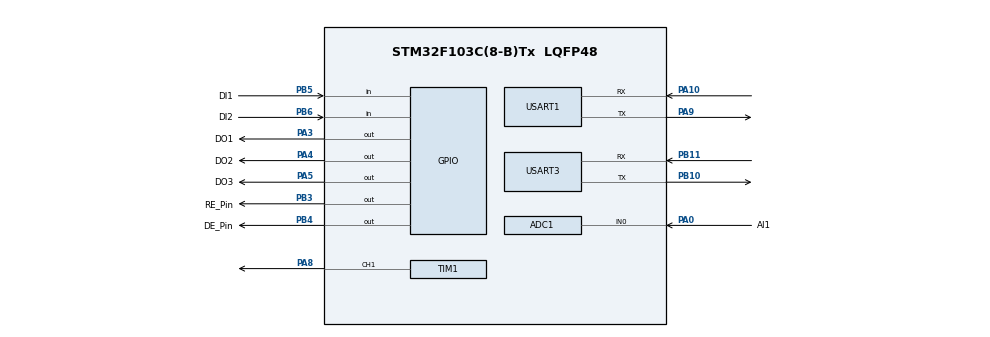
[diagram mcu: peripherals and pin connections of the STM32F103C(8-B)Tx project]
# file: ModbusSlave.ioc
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Mcu.Family=STM32F1
NVIC.USART3_IRQn=true\:0\:0\:false\:false\:true\:true\:true
ADC1.Rank-0\#ChannelRegularConversion=1
PA10.Mode=Asynchronous
PB10.Mode=Asynchronous
VP_ADC1_TempSens_Input.Mode=IN-TempSens
ADC1.ContinuousConvMode=ENABLE
SH.SharedAnalog_PA0.0=GPIO_Analog
SH.SharedAnalog_PA0.1=ADC1_IN0,IN0
PB6.GPIO_PuPd=GPIO_PULLDOWN
PB6.GPIO_Label=DI2
TIM1.Pulse-PWM\ Generation1\ CH1=0
PB11.Signal=USART3_RX
ProjectManager.StackSize=0x400
PA0-WKUP.GPIO_Label=AI1
PA0-WKUP.Signal=SharedAnalog_PA0
PA13.Signal=SYS_JTMS-SWDIO
PA9.Mode=Asynchronous
TIM1.Prescaler=0
SH.S_TIM1_CH1.0=TIM1_CH1,PWM Generation1 CH1
PB11.Mode=Asynchronous
ProjectManager.TargetToolchain=STM32CubeIDE
PA9.Signal=USART1_TX
PB6.Signal=GPIO_Input
PB10.Signal=USART3_TX
PA5.Signal=GPIO_Output
ADC1.Channel-0\#ChannelRegularConversion=ADC_CHANNEL_0
board=custom
NVIC.TIM3_IRQn=true\:2\:0\:true\:false\:true\:true\:true
RCC.APB2Freq_Value=8000000
PB4.GPIO_Label=DE_Pin
TIM1.Channel-PWM\ Generation1\ CH1=TIM_CHANNEL_1
PA14.Mode=Serial_Wire
PA8.Signal=S_TIM1_CH1
PA13.Mode=Serial_Wire
Mcu.Name=STM32F103C(8-B)Tx
VP_TIM1_VS_ClockSourceINT.Mode=Internal
ADC1.SamplingTime-0\#ChannelRegularConversion=ADC_SAMPLETIME_1CYCLE_5
PB3.Signal=GPIO_Output
PA4.Signal=GPIO_Output
Mcu.Package=LQFP48
PB5.Signal=GPIO_Input
ADC1.master=1
PA5.GPIO_Label=DO3
USART3.VirtualMode=VM_ASYNC
PB5.GPIO_PuPd=GPIO_PULLDOWN
USART1.VirtualMode=VM_ASYNC
PA10.Signal=USART1_RX
PA14.Signal=SYS_JTCK-SWCLK
ProjectManager.HeapSize=0x200
VP_TIM4_VS_ClockSourceINT.Mode=Internal
NVIC.PriorityGroup=NVIC_PRIORITYGROUP_4
ADC1.NbrOfConversionFlag=1
PB5.GPIO_Label=DI1
TIM1.Period=65535
NVIC.USART1_IRQn=true\:3\:0\:true\:false\:true\:true\:true
NVIC.TIM4_IRQn=true\:1\:0\:true\:false\:true\:true\:true
RCC.APB1Freq_Value=8000000
PA4.GPIO_Label=DO2
VP_TIM3_VS_ClockSourceINT.Mode=Internal
PB4.Signal=GPIO_Output
PA3.GPIO_Label=DO1
PA3.Signal=GPIO_Output
PB3.GPIO_Label=RE_Pin

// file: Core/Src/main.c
/* USER CODE BEGIN Header */
/**
  ******************************************************************************
  * @file           : main.c
  * @brief          : Main program body
  ******************************************************************************
  * @attention
  *
  * <h2><center>&copy; Copyright (c) 2021 STMicroelectronics.
  * All rights reserved.</center></h2>
  *
  * This software component is licensed by ST under BSD 3-Clause license,
  * the "License"; You may not use this file except in compliance with the
  * License. You may obtain a copy of the License at:
  *                        opensource.org/licenses/BSD-3-Clause
  *
  ******************************************************************************
  */
/* USER CODE END Header */
#include "main.h"

/* USER CODE BEGIN Includes */
#include "stdarg.h"

#include "rtuHandler.h"

#include "ntc.h"

/* USER CODE END Includes */

ADC_HandleTypeDef hadc1;

TIM_HandleTypeDef htim1;
TIM_HandleTypeDef htim3;
TIM_HandleTypeDef htim4;

UART_HandleTypeDef huart1;
UART_HandleTypeDef huart3;

/* USER CODE BEGIN PV */

MBHandler MBSlave;

uint8_t MBCoilsData[] = {
		0,
		0,
		1,
		1,
		1
};

uint16_t MBRegistersData[] = {
		0,
		0,
		0
};

/* USER CODE END PV */

void SystemClock_Config(void);
static void MX_GPIO_Init(void);
static void MX_TIM3_Init(void);
static void MX_TIM4_Init(void);
static void MX_USART1_UART_Init(void);
static void MX_TIM1_Init(void);
static void MX_USART3_UART_Init(void);
static void MX_ADC1_Init(void);
/* USER CODE BEGIN PFP */
void printMsg(char *msg,...);

void GPIOMapping();

void SelectADCChannel();

/* USER CODE END PFP */

/* USER CODE BEGIN 0 */
void printMsg( char *msg,...)
{
	char buffer[100];

	va_list args;
	va_start(args, msg);
	vsprintf(buffer, msg, args);

	for(int j=0; j< strlen(buffer); j++)
	{
		USART1->DR = buffer[j];
		while(!(USART1->SR & USART_SR_TXE));
	}
}

void SelectADCChannel(uint32_t channel)
{
	 ADC_ChannelConfTypeDef sConfig = {0};

	  //Configure Regular Channel

	  sConfig.Channel = channel;
	  sConfig.Rank = ADC_REGULAR_RANK_1;
	  sConfig.SamplingTime = ADC_CONVERSIONCLOCKCYCLES_SAMPLETIME_239CYCLES5;
	  if (HAL_ADC_ConfigChannel(&hadc1, &sConfig) != HAL_OK)
	  {
	    Error_Handler();
	  }

}

void GPIOMapping()
{
	// DI1
	if(HAL_GPIO_ReadPin(DI1_GPIO_Port, DI1_Pin))
	{
		*(MBSlave.CoilsData.CoilsArray) = 1;
	}
	else
	{
		*(MBSlave.CoilsData.CoilsArray) = 0;
	}

	// DI2
	if(HAL_GPIO_ReadPin(DI2_GPIO_Port, DI2_Pin))
	{
		*(MBSlave.CoilsData.CoilsArray + 1) = 1;
	}
	else
	{
		*(MBSlave.CoilsData.CoilsArray + 1) = 0;
	}

	// AI1
	SelectADCChannel(ADC_CHANNEL_0);
	HAL_ADC_Start(&hadc1);
	HAL_ADC_PollForConversion(&hadc1, 300);
	*(MBSlave.RegistersData.RegistersArray) = (uint16_t)(ntc_convertToC(HAL_ADC_GetValue(&hadc1))*100);
	HAL_ADC_Stop(&hadc1);

	//HAL_ADC_Start_DMA(&hadc1,(tempAnalogValue) ,1);

	// AI1
	SelectADCChannel(ADC_CHANNEL_TEMPSENSOR);
	HAL_ADC_Start(&hadc1);
	HAL_ADC_PollForConversion(&hadc1, 300);
	*(MBSlave.RegistersData.RegistersArray +1) = (uint16_t)(((1.43-(HAL_ADC_GetValue(&hadc1)*(3.3/4096)))/0.0043+25)*100);

	//HAL_ADC_Start_DMA(&hadc1,(tempAnalogValue) ,1);

	//DO1
	if((*(MBSlave.CoilsData.CoilsArray + 2))==0)
	{
		HAL_GPIO_WritePin(DO1_GPIO_Port, DO1_Pin, GPIO_PIN_RESET);
	}
	else
	{
		HAL_GPIO_WritePin(DO1_GPIO_Port, DO1_Pin, GPIO_PIN_SET);
	}

	//DO2
	if((*(MBSlave.CoilsData.CoilsArray + 3))==0)
	{
		HAL_GPIO_WritePin(DO2_GPIO_Port, DO2_Pin, GPIO_PIN_RESET);
	}
	else
	{
		HAL_GPIO_WritePin(DO2_GPIO_Port, DO2_Pin, GPIO_PIN_SET);
	}

	//DO3
	if((*(MBSlave.CoilsData.CoilsArray + 4))==0)
	{
		HAL_GPIO_WritePin(DO3_GPIO_Port, DO3_Pin, GPIO_PIN_RESET);
	}
	else
	{
		HAL_GPIO_WritePin(DO3_GPIO_Port, DO3_Pin, GPIO_PIN_SET);
	}

	//AO1
	HAL_TIM_PWM_Start(&htim1, TIM_CHANNEL_1);
	htim1.Instance->CCR1 = *(MBSlave.RegistersData.RegistersArray + 2);
}

/* USER CODE END 0 */

int main(void)
{

  /* MCU Configuration--------------------------------------------------------*/

  /* Reset of all peripherals, Initializes the Flash interface and the Systick. */
  HAL_Init();

  /* Configure the system clock */
  SystemClock_Config();

  /* Initialize all configured peripherals */
  MX_GPIO_Init();
  MX_TIM3_Init();
  MX_TIM4_Init();
  MX_USART1_UART_Init();
  MX_TIM1_Init();
  MX_USART3_UART_Init();
  MX_ADC1_Init();
  /* USER CODE BEGIN 2 */

  InitMBSlave(1, &MBSlave, &huart3, &htim3, &htim4, 8, 9600, UART_WORDLENGTH_9B, UART_STOPBITS_1, UART_PARITY_EVEN,
		  RE_Pin_GPIO_Port, RE_Pin_Pin, DE_Pin_GPIO_Port, DE_Pin_Pin,
		  MBCoilsData, 5, MBRegistersData, 5);

  StartMBSlave(&MBSlave);

  HAL_ADCEx_Calibration_Start(&hadc1);

  /* USER CODE END 2 */

  /* Infinite loop */
  /* USER CODE BEGIN WHILE */
  while (1)
  {

	  GPIOMapping();

	  printMsg("----------------------------------------------------------------------\n");

	  printMsg("-> DI1 (switch 1):%d\n", *(MBSlave.CoilsData.CoilsArray));
	  printMsg("-> DI2 (switch 2):%d\n", *(MBSlave.CoilsData.CoilsArray + 1));
	  printMsg("-> DO1 (LED 1):%d\n", *(MBSlave.CoilsData.CoilsArray + 2));
	  printMsg("-> DO2 (LED 2):%d\n", *(MBSlave.CoilsData.CoilsArray + 3));
	  printMsg("-> DO3 (LED 3):%d\n", *(MBSlave.CoilsData.CoilsArray + 4));

	  printMsg("-> AI1 (Ambient temp.):%d Celcius\n", *(MBSlave.RegistersData.RegistersArray));
	  printMsg("-> AI2 (STM32 temp.):%d Celcius\n", *(MBSlave.RegistersData.RegistersArray + 1));
	  printMsg("-> AO1 (PWM Ton):%d\n", *(MBSlave.RegistersData.RegistersArray + 2));

	  HAL_Delay(1000);

    /* USER CODE END WHILE */

  }
}

void SystemClock_Config(void)
{
  RCC_OscInitTypeDef RCC_OscInitStruct = {0};
  RCC_ClkInitTypeDef RCC_ClkInitStruct = {0};
  RCC_PeriphCLKInitTypeDef PeriphClkInit = {0};

  /** Initializes the RCC Oscillators according to the specified parameters
  * in the RCC_OscInitTypeDef structure.
  */
  RCC_OscInitStruct.OscillatorType = RCC_OSCILLATORTYPE_HSI;
  RCC_OscInitStruct.HSIState = RCC_HSI_ON;
  RCC_OscInitStruct.HSICalibrationValue = RCC_HSICALIBRATION_DEFAULT;
  RCC_OscInitStruct.PLL.PLLState = RCC_PLL_NONE;
  if (HAL_RCC_OscConfig(&RCC_OscInitStruct) != HAL_OK)
  {
    Error_Handler();
  }
  /** Initializes the CPU, AHB and APB buses clocks
  */
  RCC_ClkInitStruct.ClockType = RCC_CLOCKTYPE_HCLK|RCC_CLOCKTYPE_SYSCLK
                              |RCC_CLOCKTYPE_PCLK1|RCC_CLOCKTYPE_PCLK2;
  RCC_ClkInitStruct.SYSCLKSource = RCC_SYSCLKSOURCE_HSI;
  RCC_ClkInitStruct.AHBCLKDivider = RCC_SYSCLK_DIV1;
  RCC_ClkInitStruct.APB1CLKDivider = RCC_HCLK_DIV1;
  RCC_ClkInitStruct.APB2CLKDivider = RCC_HCLK_DIV1;

  if (HAL_RCC_ClockConfig(&RCC_ClkInitStruct, FLASH_LATENCY_0) != HAL_OK)
  {
    Error_Handler();
  }
  PeriphClkInit.PeriphClockSelection = RCC_PERIPHCLK_ADC;
  PeriphClkInit.AdcClockSelection = RCC_ADCPCLK2_DIV2;
  if (HAL_RCCEx_PeriphCLKConfig(&PeriphClkInit) != HAL_OK)
  {
    Error_Handler();
  }
}

static void MX_ADC1_Init(void)
{

  ADC_ChannelConfTypeDef sConfig = {0};

  /** Common config
  */
  hadc1.Instance = ADC1;
  hadc1.Init.ScanConvMode = ADC_SCAN_DISABLE;
  hadc1.Init.ContinuousConvMode = ENABLE;
  hadc1.Init.DiscontinuousConvMode = DISABLE;
  hadc1.Init.ExternalTrigConv = ADC_SOFTWARE_START;
  hadc1.Init.DataAlign = ADC_DATAALIGN_RIGHT;
  hadc1.Init.NbrOfConversion = 1;
  if (HAL_ADC_Init(&hadc1) != HAL_OK)
  {
    Error_Handler();
  }
  /** Configure Regular Channel
  */
/*  sConfig.Channel = ADC_CHANNEL_0;
  sConfig.Rank = ADC_REGULAR_RANK_1;
  sConfig.SamplingTime = ADC_SAMPLETIME_1CYCLE_5;
  if (HAL_ADC_ConfigChannel(&hadc1, &sConfig) != HAL_OK)
  {
    Error_Handler();
  }*/

}

static void MX_TIM1_Init(void)
{

  TIM_ClockConfigTypeDef sClockSourceConfig = {0};
  TIM_MasterConfigTypeDef sMasterConfig = {0};
  TIM_OC_InitTypeDef sConfigOC = {0};
  TIM_BreakDeadTimeConfigTypeDef sBreakDeadTimeConfig = {0};

  htim1.Instance = TIM1;
  htim1.Init.Prescaler = 0;
  htim1.Init.CounterMode = TIM_COUNTERMODE_UP;
  htim1.Init.Period = 65535;
  htim1.Init.ClockDivision = TIM_CLOCKDIVISION_DIV1;
  htim1.Init.RepetitionCounter = 0;
  htim1.Init.AutoReloadPreload = TIM_AUTORELOAD_PRELOAD_DISABLE;
  if (HAL_TIM_Base_Init(&htim1) != HAL_OK)
  {
    Error_Handler();
  }
  sClockSourceConfig.ClockSource = TIM_CLOCKSOURCE_INTERNAL;
  if (HAL_TIM_ConfigClockSource(&htim1, &sClockSourceConfig) != HAL_OK)
  {
    Error_Handler();
  }
  if (HAL_TIM_PWM_Init(&htim1) != HAL_OK)
  {
    Error_Handler();
  }
  sMasterConfig.MasterOutputTrigger = TIM_TRGO_RESET;
  sMasterConfig.MasterSlaveMode = TIM_MASTERSLAVEMODE_DISABLE;
  if (HAL_TIMEx_MasterConfigSynchronization(&htim1, &sMasterConfig) != HAL_OK)
  {
    Error_Handler();
  }
  sConfigOC.OCMode = TIM_OCMODE_PWM1;
  sConfigOC.Pulse = 0;
  sConfigOC.OCPolarity = TIM_OCPOLARITY_HIGH;
  sConfigOC.OCNPolarity = TIM_OCNPOLARITY_HIGH;
  sConfigOC.OCFastMode = TIM_OCFAST_DISABLE;
  sConfigOC.OCIdleState = TIM_OCIDLESTATE_RESET;
  sConfigOC.OCNIdleState = TIM_OCNIDLESTATE_RESET;
  if (HAL_TIM_PWM_ConfigChannel(&htim1, &sConfigOC, TIM_CHANNEL_1) != HAL_OK)
  {
    Error_Handler();
  }
  sBreakDeadTimeConfig.OffStateRunMode = TIM_OSSR_DISABLE;
  sBreakDeadTimeConfig.OffStateIDLEMode = TIM_OSSI_DISABLE;
  sBreakDeadTimeConfig.LockLevel = TIM_LOCKLEVEL_OFF;
  sBreakDeadTimeConfig.DeadTime = 0;
  sBreakDeadTimeConfig.BreakState = TIM_BREAK_DISABLE;
  sBreakDeadTimeConfig.BreakPolarity = TIM_BREAKPOLARITY_HIGH;
  sBreakDeadTimeConfig.AutomaticOutput = TIM_AUTOMATICOUTPUT_DISABLE;
  if (HAL_TIMEx_ConfigBreakDeadTime(&htim1, &sBreakDeadTimeConfig) != HAL_OK)
  {
    Error_Handler();
  }
  HAL_TIM_MspPostInit(&htim1);

}

static void MX_TIM3_Init(void)
{

  TIM_ClockConfigTypeDef sClockSourceConfig = {0};
  TIM_MasterConfigTypeDef sMasterConfig = {0};

  htim3.Instance = TIM3;
  htim3.Init.Prescaler = 0;
  htim3.Init.CounterMode = TIM_COUNTERMODE_UP;
  htim3.Init.Period = 65535;
  htim3.Init.ClockDivision = TIM_CLOCKDIVISION_DIV1;
  htim3.Init.AutoReloadPreload = TIM_AUTORELOAD_PRELOAD_DISABLE;
  if (HAL_TIM_Base_Init(&htim3) != HAL_OK)
  {
    Error_Handler();
  }
  sClockSourceConfig.ClockSource = TIM_CLOCKSOURCE_INTERNAL;
  if (HAL_TIM_ConfigClockSource(&htim3, &sClockSourceConfig) != HAL_OK)
  {
    Error_Handler();
  }
  sMasterConfig.MasterOutputTrigger = TIM_TRGO_RESET;
  sMasterConfig.MasterSlaveMode = TIM_MASTERSLAVEMODE_DISABLE;
  if (HAL_TIMEx_MasterConfigSynchronization(&htim3, &sMasterConfig) != HAL_OK)
  {
    Error_Handler();
  }

}

static void MX_TIM4_Init(void)
{

  TIM_ClockConfigTypeDef sClockSourceConfig = {0};
  TIM_MasterConfigTypeDef sMasterConfig = {0};

  htim4.Instance = TIM4;
  htim4.Init.Prescaler = 0;
  htim4.Init.CounterMode = TIM_COUNTERMODE_UP;
  htim4.Init.Period = 65535;
  htim4.Init.ClockDivision = TIM_CLOCKDIVISION_DIV1;
  htim4.Init.AutoReloadPreload = TIM_AUTORELOAD_PRELOAD_DISABLE;
  if (HAL_TIM_Base_Init(&htim4) != HAL_OK)
  {
    Error_Handler();
  }
  sClockSourceConfig.ClockSource = TIM_CLOCKSOURCE_INTERNAL;
  if (HAL_TIM_ConfigClockSource(&htim4, &sClockSourceConfig) != HAL_OK)
  {
    Error_Handler();
  }
  sMasterConfig.MasterOutputTrigger = TIM_TRGO_RESET;
  sMasterConfig.MasterSlaveMode = TIM_MASTERSLAVEMODE_DISABLE;
  if (HAL_TIMEx_MasterConfigSynchronization(&htim4, &sMasterConfig) != HAL_OK)
  {
    Error_Handler();
  }

}

static void MX_USART1_UART_Init(void)
{

  huart1.Instance = USART1;
  huart1.Init.BaudRate = 115200;
  huart1.Init.WordLength = UART_WORDLENGTH_8B;
  huart1.Init.StopBits = UART_STOPBITS_1;
  huart1.Init.Parity = UART_PARITY_NONE;
  huart1.Init.Mode = UART_MODE_TX_RX;
  huart1.Init.HwFlowCtl = UART_HWCONTROL_NONE;
  huart1.Init.OverSampling = UART_OVERSAMPLING_16;
  if (HAL_UART_Init(&huart1) != HAL_OK)
  {
    Error_Handler();
  }

}

static void MX_USART3_UART_Init(void)
{

  huart3.Instance = USART3;
  huart3.Init.BaudRate = 115200;
  huart3.Init.WordLength = UART_WORDLENGTH_8B;
  huart3.Init.StopBits = UART_STOPBITS_1;
  huart3.Init.Parity = UART_PARITY_NONE;
  huart3.Init.Mode = UART_MODE_TX_RX;
  huart3.Init.HwFlowCtl = UART_HWCONTROL_NONE;
  huart3.Init.OverSampling = UART_OVERSAMPLING_16;
  if (HAL_UART_Init(&huart3) != HAL_OK)
  {
    Error_Handler();
  }

}

static void MX_GPIO_Init(void)
{
  GPIO_InitTypeDef GPIO_InitStruct = {0};

  /* GPIO Ports Clock Enable */
  __HAL_RCC_GPIOA_CLK_ENABLE();
  __HAL_RCC_GPIOB_CLK_ENABLE();

  /*Configure GPIO pin Output Level */
  HAL_GPIO_WritePin(GPIOA, DO1_Pin|DO2_Pin|DO3_Pin, GPIO_PIN_RESET);

  /*Configure GPIO pin Output Level */
  HAL_GPIO_WritePin(GPIOB, RE_Pin_Pin|DE_Pin_Pin, GPIO_PIN_RESET);

  /*Configure GPIO pins : DO1_Pin DO2_Pin DO3_Pin */
  GPIO_InitStruct.Pin = DO1_Pin|DO2_Pin|DO3_Pin;
  GPIO_InitStruct.Mode = GPIO_MODE_OUTPUT_PP;
  GPIO_InitStruct.Pull = GPIO_NOPULL;
  GPIO_InitStruct.Speed = GPIO_SPEED_FREQ_LOW;
  HAL_GPIO_Init(GPIOA, &GPIO_InitStruct);

  /*Configure GPIO pins : RE_Pin_Pin DE_Pin_Pin */
  GPIO_InitStruct.Pin = RE_Pin_Pin|DE_Pin_Pin;
  GPIO_InitStruct.Mode = GPIO_MODE_OUTPUT_PP;
  GPIO_InitStruct.Pull = GPIO_NOPULL;
  GPIO_InitStruct.Speed = GPIO_SPEED_FREQ_LOW;
  HAL_GPIO_Init(GPIOB, &GPIO_InitStruct);

  /*Configure GPIO pins : DI1_Pin DI2_Pin */
  GPIO_InitStruct.Pin = DI1_Pin|DI2_Pin;
  GPIO_InitStruct.Mode = GPIO_MODE_INPUT;
  GPIO_InitStruct.Pull = GPIO_PULLDOWN;
  HAL_GPIO_Init(GPIOB, &GPIO_InitStruct);

}

/* USER CODE BEGIN 4 */

void HAL_UART_RxCpltCallback(UART_HandleTypeDef *huart)
{
	MBSlave_HAL_UART_RxCpltCallback(huart, &MBSlave);
}

void HAL_UART_ErrorCallback(UART_HandleTypeDef *huart)
{
	MBUnit_HAL_UART_ErrorCallback(huart, &MBSlave);
}

void HAL_TIM_PeriodElapsedCallback(TIM_HandleTypeDef *htim)
{
	MBSlave_HAL_TIM_PeriodElapsedCallback(htim, &MBSlave);
}

void HAL_TIM_ErrorCallback(TIM_HandleTypeDef *htim)
{
	MBUnit_HAL_TIM_ErrorCallback(htim, &MBSlave);
}

/* USER CODE END 4 */

void Error_Handler(void)
{
  __disable_irq();
  while (1)
  {
  }
}

/************************ (C) COPYRIGHT STMicroelectronics *****END OF FILE****/
